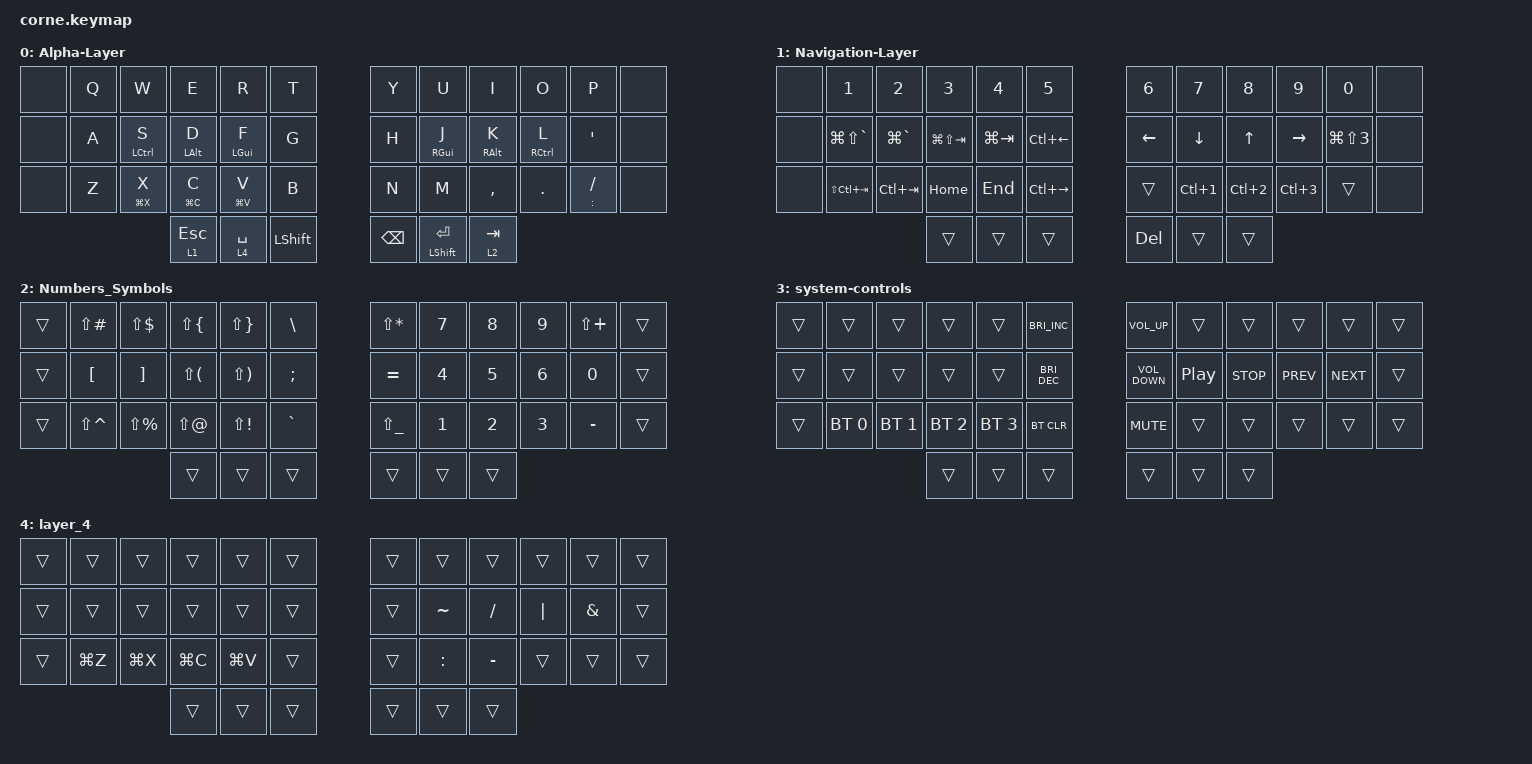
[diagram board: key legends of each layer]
/*
 * Copyright (c) 2020 The ZMK Contributors
 *
 * SPDX-License-Identifier: MIT
 */

#include <behaviors.dtsi>
#include <dt-bindings/zmk/bt.h>
#include <dt-bindings/zmk/keys.h>

&mt {
    flavor = "tap-preferred";
    tapping-term-ms = <250>;
};

/ {
    combos {
        compatible = "zmk,combos";

        Sleep {
            bindings = <&kp LC(LG(Q))>;
            key-positions = <1 10>;
        };

        Layer-3 {
            bindings = <&mo 3>;
            key-positions = <36 41>;
        };
    };

    keymap {
        compatible = "zmk,keymap";

        Alpha-Layer {
            // -----------------------------------------------------------------------------------------
            // |  TAB |  Q  |  W  |  E  |  R  |  T  |   |  Y  |  U   |  I  |  O  |  P  | BKSP |
            // | CTRL |  A  |  S  |  D  |  F  |  G  |   |  H  |  J   |  K  |  L  |  ;  |  '   |
            // | SHFT |  Z  |  X  |  C  |  V  |  B  |   |  N  |  M   |  ,  |  .  |  /  | ESC  |
            //                    | GUI | LWR | SPC |   | ENT | RSE  | ALT |

            bindings = <
&none  &kp Q  &kp W        &kp E           &kp R           &kp T             &kp Y          &kp U                 &kp I            &kp O        &kp P             &none
&none  &kp A  &mt LCTRL S  &mt LEFT_ALT D  &mt LEFT_GUI F  &kp G             &kp H          &mt RIGHT_GUI J       &mt RIGHT_ALT K  &mt RCTRL L  &kp SINGLE_QUOTE  &none
&none  &kp Z  &mt LG(X) X  &mt LG(C) C     &mt LG(V) V     &kp B             &kp N          &kp M                 &kp COMMA        &kp DOT      &mt COLON SLASH   &none
                           &lt 1 ESC       &lt 4 SPACE     &kp LEFT_SHIFT    &kp BACKSPACE  &mt LEFT_SHIFT ENTER  &lt 2 TAB
            >;
        };

        Navigation-Layer {
            // -----------------------------------------------------------------------------------------
            // |  TAB |  1  |  2  |  3  |  4  |  5  |   |  6  |  7  |  8  |  9  |  0  | BKSP |
            // | BTCLR| BT1 | BT2 | BT3 | BT4 | BT5 |   | LFT | DWN |  UP | RGT |     |      |
            // | SHFT |     |     |     |     |     |   |     |     |     |     |     |      |
            //                    | GUI |     | SPC |   | ENT |     | ALT |

            bindings = <
&none  &kp N1             &kp N2         &kp N3           &kp N4       &kp N5           &kp N6      &kp N7            &kp N8            &kp N9            &kp N0                &none
&none  &kp LG(LS(GRAVE))  &kp LG(GRAVE)  &kp LG(LS(TAB))  &kp LG(TAB)  &kp LC(LEFT)     &kp LEFT    &kp DOWN          &kp UP            &kp RIGHT         &kp LG(LS(NUMBER_3))  &none
&none  &kp LS(LC(TAB))    &kp LC(TAB)    &kp HOME         &kp END      &kp LC(RIGHT)    &trans      &kp LC(NUMBER_1)  &kp LC(NUMBER_2)  &kp LC(NUMBER_3)  &trans                &none
                                         &trans           &trans       &trans           &kp DELETE  &trans            &trans
            >;
        };

        Numbers_Symbols {
            // -----------------------------------------------------------------------------------------
            // |  TAB |  !  |  @  |  #  |  $  |  %  |   |  ^  |  &  |  *  |  (  |  )  | BKSP |
            // | CTRL |     |     |     |     |     |   |  -  |  =  |  [  |  ]  |  \  |  `   |
            // | SHFT |     |     |     |     |     |   |  _  |  +  |  {  |  }  | "|" |  ~   |
            //                    | GUI |     | SPC |   | ENT |     | ALT |

            bindings = <
&trans  &kp LS(POUND)  &kp LS(DLLR)   &kp LS(LBRC)  &kp LS(RBRC)  &kp BACKSLASH    &kp LS(STAR)   &kp N7  &kp N8  &kp N9  &kp LS(PLUS)  &trans
&trans  &kp LBKT       &kp RBKT       &kp LS(LPAR)  &kp LS(RPAR)  &kp SEMI         &kp EQUAL      &kp N4  &kp N5  &kp N6  &kp N0        &trans
&trans  &kp LS(CARET)  &kp LS(PRCNT)  &kp LS(AT)    &kp LS(EXCL)  &kp GRAVE        &kp LS(UNDER)  &kp N1  &kp N2  &kp N3  &kp MINUS     &trans
                                      &trans        &trans        &trans           &trans         &trans  &trans
            >;
        };

        system-controls {
            bindings = <
&trans  &trans        &trans        &trans        &trans        &kp C_BRIGHTNESS_INC    &kp C_VOLUME_UP    &trans            &trans      &trans      &trans      &trans
&trans  &trans        &trans        &trans        &trans        &kp C_BRIGHTNESS_DEC    &kp C_VOLUME_DOWN  &kp C_PLAY_PAUSE  &kp K_STOP  &kp K_PREV  &kp K_NEXT  &trans
&trans  &bt BT_SEL 0  &bt BT_SEL 1  &bt BT_SEL 2  &bt BT_SEL 3  &bt BT_CLR              &kp K_MUTE         &trans            &trans      &trans      &trans      &trans
                                    &trans        &trans        &trans                  &trans             &trans            &trans
            >;
        };

        layer_4 {
            bindings = <
&trans  &trans     &trans     &trans     &trans     &trans    &trans  &trans     &trans     &trans    &trans         &trans
&trans  &trans     &trans     &trans     &trans     &trans    &trans  &kp TILDE  &kp SLASH  &kp PIPE  &kp AMPERSAND  &trans
&trans  &kp LG(Z)  &kp LG(X)  &kp LG(C)  &kp LG(V)  &trans    &trans  &kp COLON  &kp MINUS  &trans    &trans         &trans
                              &trans     &trans     &trans    &trans  &trans     &trans
            >;
        };
    };
};
